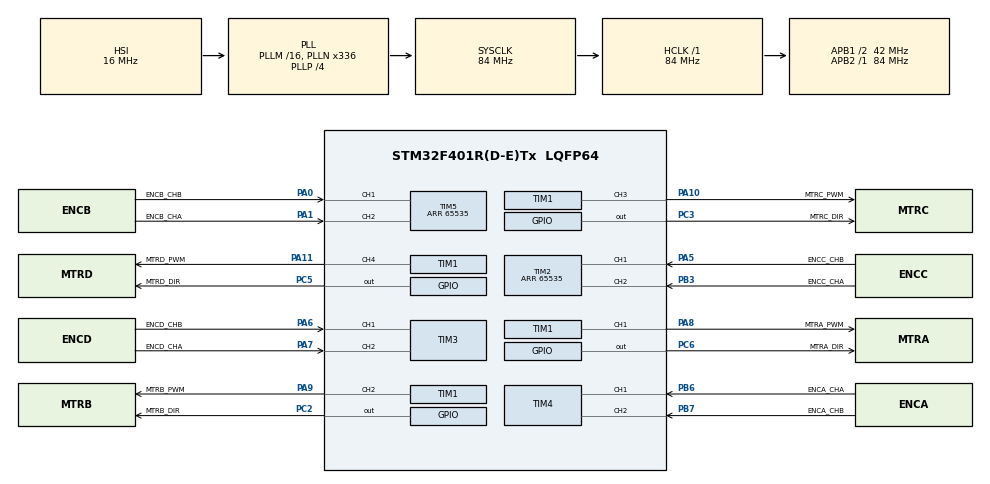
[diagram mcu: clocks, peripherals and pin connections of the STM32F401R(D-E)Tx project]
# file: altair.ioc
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Mcu.Family=STM32F4
Mcu.Name=STM32F401R(D-E)Tx
Mcu.Package=LQFP64
NVIC.PriorityGroup=NVIC_PRIORITYGROUP_0
PA0-WKUP.GPIO_Label=ENCB_CHB
PA0-WKUP.Signal=S_TIM5_CH1
PA1.GPIO_Label=ENCB_CHA
PA1.Signal=S_TIM5_CH2
PA10.GPIO_Label=MTRC_PWM
PA10.Signal=S_TIM1_CH3
PA11.GPIO_Label=MTRD_PWM
PA11.Signal=S_TIM1_CH4
PA13.GPIO_Label=TMS
PA13.Mode=Serial_Wire
PA13.Signal=SYS_JTMS-SWDIO
PA14.GPIO_Label=TCK
PA14.Mode=Serial_Wire
PA14.Signal=SYS_JTCK-SWCLK
PA5.GPIO_Label=ENCC_CHB
PA5.Signal=S_TIM2_CH1_ETR
PA6.GPIO_Label=ENCD_CHB
PA6.Signal=S_TIM3_CH1
PA7.GPIO_Label=ENCD_CHA
PA7.Signal=S_TIM3_CH2
PA8.GPIO_Label=MTRA_PWM
PA8.Signal=S_TIM1_CH1
PA9.GPIO_Label=MTRB_PWM
PA9.Signal=S_TIM1_CH2
PB3.GPIO_Label=ENCC_CHA
PB3.Signal=S_TIM2_CH2
PB6.GPIO_Label=ENCA_CHA
PB6.Signal=S_TIM4_CH1
PB7.GPIO_Label=ENCA_CHB
PB7.Signal=S_TIM4_CH2
PC14-OSC32_IN.Mode=LSE-External-Oscillator
PC14-OSC32_IN.Signal=RCC_OSC32_IN
PC15-OSC32_OUT.Mode=LSE-External-Oscillator
PC15-OSC32_OUT.Signal=RCC_OSC32_OUT
PC2.GPIO_Label=MTRB_DIR
PC2.Signal=GPIO_Output
PC3.GPIO_Label=MTRC_DIR
PC3.Signal=GPIO_Output
PC5.GPIO_Label=MTRD_DIR
PC5.Signal=GPIO_Output
PC6.GPIO_Label=MTRA_DIR
PC6.Signal=GPIO_Output
PH0\ -\ OSC_IN.Mode=HSE-External-Clock-Source
PH0\ -\ OSC_IN.Signal=RCC_OSC_IN
PH1\ -\ OSC_OUT.Mode=HSE-External-Clock-Source
PH1\ -\ OSC_OUT.Signal=RCC_OSC_OUT
ProjectManager.HeapSize=0x200
ProjectManager.StackSize=0x400
ProjectManager.TargetToolchain=STM32CubeIDE
RCC.48MHZClocksFreq_Value=48000000
RCC.AHBFreq_Value=84000000
RCC.APB1CLKDivider=RCC_HCLK_DIV2
RCC.APB1Freq_Value=42000000
RCC.APB1TimFreq_Value=84000000
RCC.APB2Freq_Value=84000000
RCC.APB2TimFreq_Value=84000000
RCC.CortexFreq_Value=84000000
RCC.HCLKFreq_Value=84000000
RCC.HSE_VALUE=8000000
RCC.HSI_VALUE=16000000
RCC.PLLN=336
RCC.PLLP=RCC_PLLP_DIV4
RCC.PLLQ=7
RCC.RCC_RTC_Clock_Source=RCC_RTCCLKSOURCE_LSI
RCC.RCC_RTC_Clock_SourceVirtual=RCC_RTCCLKSOURCE_LSI
RCC.SYSCLKFreq_VALUE=84000000
RCC.SYSCLKSource=RCC_SYSCLKSOURCE_PLLCLK
RCC.VCOOutputFreq_Value=336000000
SH.S_TIM1_CH1.0=TIM1_CH1,PWM Generation1 CH1
SH.S_TIM1_CH2.0=TIM1_CH2,PWM Generation2 CH2
SH.S_TIM1_CH3.0=TIM1_CH3,PWM Generation3 CH3
SH.S_TIM1_CH4.0=TIM1_CH4,PWM Generation4 CH4
SH.S_TIM2_CH1_ETR.0=TIM2_CH1,Encoder_Interface
SH.S_TIM2_CH2.0=TIM2_CH2,Encoder_Interface
SH.S_TIM3_CH1.0=TIM3_CH1,Encoder_Interface
SH.S_TIM3_CH2.0=TIM3_CH2,Encoder_Interface
SH.S_TIM4_CH1.0=TIM4_CH1,Encoder_Interface
SH.S_TIM4_CH2.0=TIM4_CH2,Encoder_Interface
SH.S_TIM5_CH1.0=TIM5_CH1,Encoder_Interface
SH.S_TIM5_CH2.0=TIM5_CH2,Encoder_Interface
TIM1.AutoReloadPreload=TIM_AUTORELOAD_PRELOAD_ENABLE
TIM1.Channel-PWM\ Generation1\ CH1=TIM_CHANNEL_1
TIM1.Channel-PWM\ Generation2\ CH2=TIM_CHANNEL_2
TIM1.Channel-PWM\ Generation3\ CH3=TIM_CHANNEL_3
TIM1.Channel-PWM\ Generation4\ CH4=TIM_CHANNEL_4
TIM1.Period=2000
TIM2.AutoReloadPreload=TIM_AUTORELOAD_PRELOAD_ENABLE
TIM2.EncoderMode=TIM_ENCODERMODE_TI12
TIM2.Period=65535
TIM3.AutoReloadPreload=TIM_AUTORELOAD_PRELOAD_ENABLE
TIM3.EncoderMode=TIM_ENCODERMODE_TI12
TIM4.AutoReloadPreload=TIM_AUTORELOAD_PRELOAD_ENABLE
TIM4.EncoderMode=TIM_ENCODERMODE_TI12
TIM5.AutoReloadPreload=TIM_AUTORELOAD_PRELOAD_ENABLE
TIM5.EncoderMode=TIM_ENCODERMODE_TI12
TIM5.IC1Polarity=TIM_ICPOLARITY_RISING
TIM5.IC2Polarity=TIM_ICPOLARITY_RISING
TIM5.Period=65535
board=NUCLEO-F401RE

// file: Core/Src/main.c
/* USER CODE BEGIN Header */
/**
  ******************************************************************************
  * @file           : main.c
  * @brief          : Main program body
  ******************************************************************************
  * @attention
  *
  * Copyright (c) 2022 STMicroelectronics.
  * All rights reserved.
  *
  * This software is licensed under terms that can be found in the LICENSE file
  * in the root directory of this software component.
  * If no LICENSE file comes with this software, it is provided AS-IS.
  *
  ******************************************************************************
  */
/* USER CODE END Header */
#include "main.h"

/* USER CODE BEGIN Includes */
#include <stdio.h>
#include <stdlib.h>
#include <math.h>

/* USER CODE END Includes */

/* USER CODE BEGIN PTD */
typedef struct Motor {
	GPIO_TypeDef *dir_port;
	uint16_t dir_pin;
	volatile uint32_t *ccr;
} Motor;

typedef struct Encoder {
	TIM_HandleTypeDef htim;
	Direction increment_direction;
} Encoder;

typedef struct Altair {
	// Motors
	Motor *motorA;
	Motor *motorB;
	Motor *motorC;
	Motor *motorD;

	// Encoders
	Encoder encoderA;
	Encoder encoderB;
	Encoder encoderC;
	Encoder encoderD;
} Altair;

typedef enum {
    FORWARD = GPIO_PIN_RESET,
	BACKWARD = GPIO_PIN_SET
} Direction;

/* USER CODE END PTD */

/* USER CODE BEGIN PD */
#define WHEEL_RADIUS_MM 50
#define ENCODER_COUNTS_PER_REVOLUTION 64
#define GEAR_RATIO 36
#define TARGET_DIST_MM 1000
#define SAMPLE_TIME_MS 100
#define COUNTER_PERIOD 65535
#define MAX_DELTA_COUNTER 5000

/* USER CODE END PD */

 TIM_HandleTypeDef htim1;
TIM_HandleTypeDef htim2;
TIM_HandleTypeDef htim3;
TIM_HandleTypeDef htim4;
TIM_HandleTypeDef htim5;

/* USER CODE BEGIN PV */
// Encoder variables
static volatile int64_t motorA_nominal_enc_count = 0;

// PID constants
static volatile float kp = 0.9;
static volatile float kd = 0.1;
static volatile float ki = 0.1;

static volatile float motorA_curr_error_mm = 0;
static volatile float motorA_prev_error_mm = 0;
static volatile float motorA_error_derivative = 0;
static volatile float motorA_error_integral = 0;
static volatile float u = 0;

/* USER CODE END PV */

void SystemClock_Config(void);
static void MX_GPIO_Init(void);
static void MX_TIM1_Init(void);
static void MX_TIM3_Init(void);
static void MX_TIM4_Init(void);
static void MX_TIM2_Init(void);
static void MX_TIM5_Init(void);
/* USER CODE BEGIN PFP */
void Altair_Init(Altair *altair);
uint32_t get_encoder_count(Encoder encoder);
uint8_t get_encoder_direction(Encoder encoder);
void set_motor_pulse(Motor *motor, uint16_t pulse);
void set_motor_direction(Motor *motor, Direction dir);

/* USER CODE END PFP */

int main(void)
{
  /* USER CODE BEGIN 1 */
  Altair *altair = malloc(sizeof(Altair));

  /* USER CODE END 1 */

  /* MCU Configuration--------------------------------------------------------*/

  /* Reset of all peripherals, Initializes the Flash interface and the Systick. */
  HAL_Init();

  /* USER CODE BEGIN Init */
  Altair_Init(altair);
  /* USER CODE END Init */

  /* Configure the system clock */
  SystemClock_Config();

  /* Initialize all configured peripherals */
  MX_GPIO_Init();
  MX_TIM1_Init();
  MX_TIM3_Init();
  MX_TIM4_Init();
  MX_TIM2_Init();
  MX_TIM5_Init();
  /* USER CODE BEGIN 2 */
  HAL_TIM_PWM_Start(&htim1, TIM_CHANNEL_1);			// MTRA_PWM
  HAL_TIM_PWM_Start(&htim1, TIM_CHANNEL_2);			// MTRB_PWM
  HAL_TIM_PWM_Start(&htim1, TIM_CHANNEL_3);			// MTRC_PWM
  HAL_TIM_PWM_Start(&htim1, TIM_CHANNEL_4);			// MTRD_PWM
  HAL_TIM_Encoder_Start(&htim2, TIM_CHANNEL_ALL);
  HAL_TIM_Encoder_Start(&htim3, TIM_CHANNEL_ALL);
  HAL_TIM_Encoder_Start(&htim4, TIM_CHANNEL_ALL);
  HAL_TIM_Encoder_Start(&htim5, TIM_CHANNEL_ALL);

  /* USER CODE END 2 */

  /* Infinite loop */
  /* USER CODE BEGIN WHILE */
  uint32_t prev_time_ms = HAL_GetTick();
  uint32_t motorA_prev_enc_count = 0;
  while (1) {

	  // Get time in ms
	  uint32_t curr_time_ms = HAL_GetTick();
	  uint32_t delta_time_ms = curr_time_ms - prev_time_ms;

	  if (delta_time_ms >= SAMPLE_TIME_MS) {
		  uint32_t motorA_curr_enc_count = htim4.Instance->CNT;
//		  uint32_t motorA_curr_enc_count = altair_get_encoder_count(altair->encoderA);
		  int16_t motorA_delta_enc_count;

		  // Update nominal encoder count (-9,223,372,036,854,775,808 to 9,223,372,036,854,775,807)
		  if (motorA_curr_enc_count > motorA_prev_enc_count) {
			  if (__HAL_TIM_IS_TIM_COUNTING_DOWN(&htim4)) {
				  motorA_delta_enc_count = (int64_t)motorA_curr_enc_count - (COUNTER_PERIOD + motorA_prev_enc_count);
			  } else {
				  motorA_delta_enc_count = (int64_t)motorA_curr_enc_count - motorA_prev_enc_count;
			  }
		  } else if (motorA_curr_enc_count < motorA_prev_enc_count) {
			  if (__HAL_TIM_IS_TIM_COUNTING_DOWN(&htim4)) {
				  motorA_delta_enc_count = (int64_t)motorA_curr_enc_count - motorA_prev_enc_count;
			  } else {
				  motorA_delta_enc_count = (int64_t)motorA_curr_enc_count + (COUNTER_PERIOD - motorA_prev_enc_count);
			  }
		  } else {
			  motorA_delta_enc_count = 0;
		  }

		  if (motorA_delta_enc_count > MAX_DELTA_COUNTER) {
			  motorA_delta_enc_count = COUNTER_PERIOD - motorA_delta_enc_count;
		  } else if (motorA_delta_enc_count < (-1)*MAX_DELTA_COUNTER) {
			  motorA_delta_enc_count = (-1)*COUNTER_PERIOD - motorA_delta_enc_count;
		  }
		  motorA_nominal_enc_count = motorA_nominal_enc_count + motorA_delta_enc_count;

		  // Convert nominal encoder count to linear distance travelled
		  float motorA_revs = (float) motorA_nominal_enc_count / (ENCODER_COUNTS_PER_REVOLUTION * GEAR_RATIO);
		  float motorA_dist_mm = (2*M_PI*WHEEL_RADIUS_MM) * motorA_revs;

		  // Compute PID signal to drive motors
		  motorA_curr_error_mm = TARGET_DIST_MM - motorA_dist_mm;
		  motorA_error_derivative = (motorA_curr_error_mm - motorA_prev_error_mm) / (delta_time_ms / 1e3);
		  motorA_error_integral = motorA_error_integral + motorA_curr_error_mm * (delta_time_ms / 1e3);
		  u = kp*motorA_curr_error_mm + kd*motorA_error_derivative + ki*motorA_error_integral;

		  uint32_t pulse = round(fabs(u));
		  if (pulse > 2000) {
			  pulse = 2000;
		  }

		  Direction direction = FORWARD;
		  if (u < 0) {
			  direction = BACKWARD;
		  }

		  set_motor_pulse(altair->motorA, pulse);
		  set_motor_direction(altair->motorA, direction);

		  prev_time_ms = curr_time_ms;
		  motorA_prev_error_mm = motorA_curr_error_mm;
		  motorA_prev_enc_count = motorA_curr_enc_count;
	  }

    /* USER CODE END WHILE */

  }
}

void SystemClock_Config(void)
{
  RCC_OscInitTypeDef RCC_OscInitStruct = {0};
  RCC_ClkInitTypeDef RCC_ClkInitStruct = {0};

  /** Configure the main internal regulator output voltage
  */
  __HAL_RCC_PWR_CLK_ENABLE();
  __HAL_PWR_VOLTAGESCALING_CONFIG(PWR_REGULATOR_VOLTAGE_SCALE2);

  /** Initializes the RCC Oscillators according to the specified parameters
  * in the RCC_OscInitTypeDef structure.
  */
  RCC_OscInitStruct.OscillatorType = RCC_OSCILLATORTYPE_HSI;
  RCC_OscInitStruct.HSIState = RCC_HSI_ON;
  RCC_OscInitStruct.HSICalibrationValue = RCC_HSICALIBRATION_DEFAULT;
  RCC_OscInitStruct.PLL.PLLState = RCC_PLL_ON;
  RCC_OscInitStruct.PLL.PLLSource = RCC_PLLSOURCE_HSI;
  RCC_OscInitStruct.PLL.PLLM = 16;
  RCC_OscInitStruct.PLL.PLLN = 336;
  RCC_OscInitStruct.PLL.PLLP = RCC_PLLP_DIV4;
  RCC_OscInitStruct.PLL.PLLQ = 7;
  if (HAL_RCC_OscConfig(&RCC_OscInitStruct) != HAL_OK)
  {
    Error_Handler();
  }

  /** Initializes the CPU, AHB and APB buses clocks
  */
  RCC_ClkInitStruct.ClockType = RCC_CLOCKTYPE_HCLK|RCC_CLOCKTYPE_SYSCLK
                              |RCC_CLOCKTYPE_PCLK1|RCC_CLOCKTYPE_PCLK2;
  RCC_ClkInitStruct.SYSCLKSource = RCC_SYSCLKSOURCE_PLLCLK;
  RCC_ClkInitStruct.AHBCLKDivider = RCC_SYSCLK_DIV1;
  RCC_ClkInitStruct.APB1CLKDivider = RCC_HCLK_DIV2;
  RCC_ClkInitStruct.APB2CLKDivider = RCC_HCLK_DIV1;

  if (HAL_RCC_ClockConfig(&RCC_ClkInitStruct, FLASH_LATENCY_2) != HAL_OK)
  {
    Error_Handler();
  }
}

static void MX_TIM1_Init(void)
{

  TIM_MasterConfigTypeDef sMasterConfig = {0};
  TIM_OC_InitTypeDef sConfigOC = {0};
  TIM_BreakDeadTimeConfigTypeDef sBreakDeadTimeConfig = {0};

  htim1.Instance = TIM1;
  htim1.Init.Prescaler = 0;
  htim1.Init.CounterMode = TIM_COUNTERMODE_UP;
  htim1.Init.Period = 2000;
  htim1.Init.ClockDivision = TIM_CLOCKDIVISION_DIV1;
  htim1.Init.RepetitionCounter = 0;
  htim1.Init.AutoReloadPreload = TIM_AUTORELOAD_PRELOAD_ENABLE;
  if (HAL_TIM_PWM_Init(&htim1) != HAL_OK)
  {
    Error_Handler();
  }
  sMasterConfig.MasterOutputTrigger = TIM_TRGO_RESET;
  sMasterConfig.MasterSlaveMode = TIM_MASTERSLAVEMODE_DISABLE;
  if (HAL_TIMEx_MasterConfigSynchronization(&htim1, &sMasterConfig) != HAL_OK)
  {
    Error_Handler();
  }
  sConfigOC.OCMode = TIM_OCMODE_PWM1;
  sConfigOC.Pulse = 0;
  sConfigOC.OCPolarity = TIM_OCPOLARITY_HIGH;
  sConfigOC.OCNPolarity = TIM_OCNPOLARITY_HIGH;
  sConfigOC.OCFastMode = TIM_OCFAST_DISABLE;
  sConfigOC.OCIdleState = TIM_OCIDLESTATE_RESET;
  sConfigOC.OCNIdleState = TIM_OCNIDLESTATE_RESET;
  if (HAL_TIM_PWM_ConfigChannel(&htim1, &sConfigOC, TIM_CHANNEL_1) != HAL_OK)
  {
    Error_Handler();
  }
  if (HAL_TIM_PWM_ConfigChannel(&htim1, &sConfigOC, TIM_CHANNEL_2) != HAL_OK)
  {
    Error_Handler();
  }
  if (HAL_TIM_PWM_ConfigChannel(&htim1, &sConfigOC, TIM_CHANNEL_3) != HAL_OK)
  {
    Error_Handler();
  }
  if (HAL_TIM_PWM_ConfigChannel(&htim1, &sConfigOC, TIM_CHANNEL_4) != HAL_OK)
  {
    Error_Handler();
  }
  sBreakDeadTimeConfig.OffStateRunMode = TIM_OSSR_DISABLE;
  sBreakDeadTimeConfig.OffStateIDLEMode = TIM_OSSI_DISABLE;
  sBreakDeadTimeConfig.LockLevel = TIM_LOCKLEVEL_OFF;
  sBreakDeadTimeConfig.DeadTime = 0;
  sBreakDeadTimeConfig.BreakState = TIM_BREAK_DISABLE;
  sBreakDeadTimeConfig.BreakPolarity = TIM_BREAKPOLARITY_HIGH;
  sBreakDeadTimeConfig.AutomaticOutput = TIM_AUTOMATICOUTPUT_DISABLE;
  if (HAL_TIMEx_ConfigBreakDeadTime(&htim1, &sBreakDeadTimeConfig) != HAL_OK)
  {
    Error_Handler();
  }
  HAL_TIM_MspPostInit(&htim1);

}

static void MX_TIM2_Init(void)
{

  TIM_Encoder_InitTypeDef sConfig = {0};
  TIM_MasterConfigTypeDef sMasterConfig = {0};

  htim2.Instance = TIM2;
  htim2.Init.Prescaler = 0;
  htim2.Init.CounterMode = TIM_COUNTERMODE_UP;
  htim2.Init.Period = 65535;
  htim2.Init.ClockDivision = TIM_CLOCKDIVISION_DIV1;
  htim2.Init.AutoReloadPreload = TIM_AUTORELOAD_PRELOAD_ENABLE;
  sConfig.EncoderMode = TIM_ENCODERMODE_TI12;
  sConfig.IC1Polarity = TIM_ICPOLARITY_RISING;
  sConfig.IC1Selection = TIM_ICSELECTION_DIRECTTI;
  sConfig.IC1Prescaler = TIM_ICPSC_DIV1;
  sConfig.IC1Filter = 0;
  sConfig.IC2Polarity = TIM_ICPOLARITY_RISING;
  sConfig.IC2Selection = TIM_ICSELECTION_DIRECTTI;
  sConfig.IC2Prescaler = TIM_ICPSC_DIV1;
  sConfig.IC2Filter = 0;
  if (HAL_TIM_Encoder_Init(&htim2, &sConfig) != HAL_OK)
  {
    Error_Handler();
  }
  sMasterConfig.MasterOutputTrigger = TIM_TRGO_RESET;
  sMasterConfig.MasterSlaveMode = TIM_MASTERSLAVEMODE_DISABLE;
  if (HAL_TIMEx_MasterConfigSynchronization(&htim2, &sMasterConfig) != HAL_OK)
  {
    Error_Handler();
  }

}

static void MX_TIM3_Init(void)
{

  TIM_Encoder_InitTypeDef sConfig = {0};
  TIM_MasterConfigTypeDef sMasterConfig = {0};

  htim3.Instance = TIM3;
  htim3.Init.Prescaler = 0;
  htim3.Init.CounterMode = TIM_COUNTERMODE_UP;
  htim3.Init.Period = 65535;
  htim3.Init.ClockDivision = TIM_CLOCKDIVISION_DIV1;
  htim3.Init.AutoReloadPreload = TIM_AUTORELOAD_PRELOAD_ENABLE;
  sConfig.EncoderMode = TIM_ENCODERMODE_TI12;
  sConfig.IC1Polarity = TIM_ICPOLARITY_RISING;
  sConfig.IC1Selection = TIM_ICSELECTION_DIRECTTI;
  sConfig.IC1Prescaler = TIM_ICPSC_DIV1;
  sConfig.IC1Filter = 0;
  sConfig.IC2Polarity = TIM_ICPOLARITY_RISING;
  sConfig.IC2Selection = TIM_ICSELECTION_DIRECTTI;
  sConfig.IC2Prescaler = TIM_ICPSC_DIV1;
  sConfig.IC2Filter = 0;
  if (HAL_TIM_Encoder_Init(&htim3, &sConfig) != HAL_OK)
  {
    Error_Handler();
  }
  sMasterConfig.MasterOutputTrigger = TIM_TRGO_RESET;
  sMasterConfig.MasterSlaveMode = TIM_MASTERSLAVEMODE_DISABLE;
  if (HAL_TIMEx_MasterConfigSynchronization(&htim3, &sMasterConfig) != HAL_OK)
  {
    Error_Handler();
  }

}

static void MX_TIM4_Init(void)
{

  TIM_Encoder_InitTypeDef sConfig = {0};
  TIM_MasterConfigTypeDef sMasterConfig = {0};

  htim4.Instance = TIM4;
  htim4.Init.Prescaler = 0;
  htim4.Init.CounterMode = TIM_COUNTERMODE_UP;
  htim4.Init.Period = 65535;
  htim4.Init.ClockDivision = TIM_CLOCKDIVISION_DIV1;
  htim4.Init.AutoReloadPreload = TIM_AUTORELOAD_PRELOAD_ENABLE;
  sConfig.EncoderMode = TIM_ENCODERMODE_TI12;
  sConfig.IC1Polarity = TIM_ICPOLARITY_RISING;
  sConfig.IC1Selection = TIM_ICSELECTION_DIRECTTI;
  sConfig.IC1Prescaler = TIM_ICPSC_DIV1;
  sConfig.IC1Filter = 0;
  sConfig.IC2Polarity = TIM_ICPOLARITY_RISING;
  sConfig.IC2Selection = TIM_ICSELECTION_DIRECTTI;
  sConfig.IC2Prescaler = TIM_ICPSC_DIV1;
  sConfig.IC2Filter = 0;
  if (HAL_TIM_Encoder_Init(&htim4, &sConfig) != HAL_OK)
  {
    Error_Handler();
  }
  sMasterConfig.MasterOutputTrigger = TIM_TRGO_RESET;
  sMasterConfig.MasterSlaveMode = TIM_MASTERSLAVEMODE_DISABLE;
  if (HAL_TIMEx_MasterConfigSynchronization(&htim4, &sMasterConfig) != HAL_OK)
  {
    Error_Handler();
  }

}

static void MX_TIM5_Init(void)
{

  TIM_Encoder_InitTypeDef sConfig = {0};
  TIM_MasterConfigTypeDef sMasterConfig = {0};

  htim5.Instance = TIM5;
  htim5.Init.Prescaler = 0;
  htim5.Init.CounterMode = TIM_COUNTERMODE_UP;
  htim5.Init.Period = 65535;
  htim5.Init.ClockDivision = TIM_CLOCKDIVISION_DIV1;
  htim5.Init.AutoReloadPreload = TIM_AUTORELOAD_PRELOAD_ENABLE;
  sConfig.EncoderMode = TIM_ENCODERMODE_TI12;
  sConfig.IC1Polarity = TIM_ICPOLARITY_RISING;
  sConfig.IC1Selection = TIM_ICSELECTION_DIRECTTI;
  sConfig.IC1Prescaler = TIM_ICPSC_DIV1;
  sConfig.IC1Filter = 0;
  sConfig.IC2Polarity = TIM_ICPOLARITY_RISING;
  sConfig.IC2Selection = TIM_ICSELECTION_DIRECTTI;
  sConfig.IC2Prescaler = TIM_ICPSC_DIV1;
  sConfig.IC2Filter = 0;
  if (HAL_TIM_Encoder_Init(&htim5, &sConfig) != HAL_OK)
  {
    Error_Handler();
  }
  sMasterConfig.MasterOutputTrigger = TIM_TRGO_RESET;
  sMasterConfig.MasterSlaveMode = TIM_MASTERSLAVEMODE_DISABLE;
  if (HAL_TIMEx_MasterConfigSynchronization(&htim5, &sMasterConfig) != HAL_OK)
  {
    Error_Handler();
  }

}

static void MX_GPIO_Init(void)
{
  GPIO_InitTypeDef GPIO_InitStruct = {0};

  /* GPIO Ports Clock Enable */
  __HAL_RCC_GPIOC_CLK_ENABLE();
  __HAL_RCC_GPIOH_CLK_ENABLE();
  __HAL_RCC_GPIOA_CLK_ENABLE();
  __HAL_RCC_GPIOB_CLK_ENABLE();

  /*Configure GPIO pin Output Level */
  HAL_GPIO_WritePin(GPIOC, MTRB_DIR_Pin|MTRC_DIR_Pin|MTRD_DIR_Pin|MTRA_DIR_Pin, GPIO_PIN_RESET);

  /*Configure GPIO pins : MTRB_DIR_Pin MTRC_DIR_Pin MTRD_DIR_Pin MTRA_DIR_Pin */
  GPIO_InitStruct.Pin = MTRB_DIR_Pin|MTRC_DIR_Pin|MTRD_DIR_Pin|MTRA_DIR_Pin;
  GPIO_InitStruct.Mode = GPIO_MODE_OUTPUT_PP;
  GPIO_InitStruct.Pull = GPIO_NOPULL;
  GPIO_InitStruct.Speed = GPIO_SPEED_FREQ_LOW;
  HAL_GPIO_Init(GPIOC, &GPIO_InitStruct);

}

/* USER CODE BEGIN 4 */

void set_motor_direction(Motor *motor, Direction direction) {
	HAL_GPIO_WritePin(motor->dir_port, motor->dir_pin, (GPIO_PinState) direction);
}

void set_motor_pulse(Motor *motor, uint16_t pulse) {
	*(motor->ccr) = pulse;
}

uint32_t get_encoder_count(Encoder encoder) {
	return encoder.htim.Instance->CNT;
}

Direction get_encoder_direction(Encoder encoder) {
	if (encoder.increment_direction == FORWARD) {
		return !(__HAL_TIM_IS_TIM_COUNTING_DOWN(&(encoder.htim)));
	} else {
		return (__HAL_TIM_IS_TIM_COUNTING_DOWN(&(encoder.htim)));
	}
}

void Altair_Init(Altair *altair) {
	// Motor A
	altair->motorA = malloc(sizeof(Motor));
	altair->motorA->ccr = &(TIM1->CCR1);
	altair->motorA->dir_port = MTRA_DIR_GPIO_Port;
	altair->motorA->dir_pin = MTRA_DIR_Pin;

	// Motor B
	altair->motorB = malloc(sizeof(Motor));
	altair->motorB->ccr = &(TIM1->CCR3);
	altair->motorB->dir_port = MTRB_DIR_GPIO_Port;
	altair->motorB->dir_pin = MTRB_DIR_Pin;

	// Motor C
	altair->motorC = malloc(sizeof(Motor));
	altair->motorC->ccr = &(TIM1->CCR4);
	altair->motorC->dir_port = MTRC_DIR_GPIO_Port;
	altair->motorC->dir_pin = MTRC_DIR_Pin;

	// Motor D
	altair->motorD = malloc(sizeof(Motor));
	altair->motorD->ccr = &(TIM1->CCR2);
	altair->motorD->dir_port = MTRD_DIR_GPIO_Port;
	altair->motorD->dir_pin = MTRD_DIR_Pin;

	// Encoder A
	altair->encoderA.htim = htim4;
	altair->encoderA.increment_direction = FORWARD;

	// Encoder B
	altair->encoderB.htim = htim5;
	altair->encoderB.increment_direction = BACKWARD;

	// Encoder C
	altair->encoderC.htim = htim2;
	altair->encoderC.increment_direction = BACKWARD;

	// Encoder D
	altair->encoderD.htim = htim3;
	altair->encoderD.increment_direction = FORWARD;
}

/* USER CODE END 4 */

void Error_Handler(void)
{
  __disable_irq();
  while (1)
  {
  }
}
